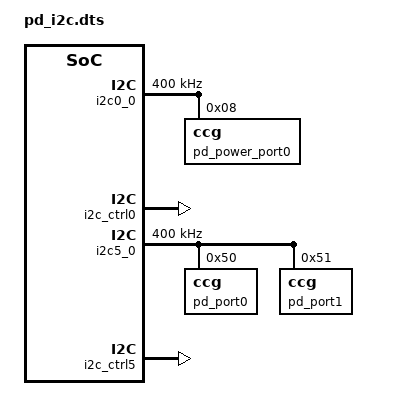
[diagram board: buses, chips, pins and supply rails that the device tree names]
/* Copyright 2023 The ChromiumOS Authors
 * Use of this source code is governed by a BSD-style license that can be
 * found in the LICENSE file.
 */

/ {
	named-i2c-ports {
		ec_pd_power: typec-aic1-power {
			i2c-port = <&i2c0_0>;
			enum-names = "I2C_PORT_TYPEC_AIC_1";
		};
		ec_pd_data: typec-aic-data {
			i2c-port = <&i2c5_0>;
			enum-names = "I2C_PORT_TYPEC_DATA";
		};
	};
};

/* typec-aic1-power */
&i2c0_0 {
	label = "I2C_PD_POWER";
	status = "okay";
	clock-frequency = <I2C_BITRATE_FAST>;
	pinctrl-0 = <&i2c0_0_sda_scl_gpb4_b5>;
	pinctrl-names = "default";

	pd_power_port0: ccg@52 {
		comapible = "intel,pd-altmode";
		reg = <0x8>;
		int-pin = <&pd_p0p1_intr>;
	};
};

&i2c_ctrl0 {
	status = "okay";
};

/* typec-aic-data */
&i2c5_0 {
	label = "I2C_PD_DATA";
	status = "okay";
	clock-frequency = <I2C_BITRATE_FAST>;
	pinctrl-0 = <&i2c5_0_sda_scl_gp33_36>;
	pinctrl-names = "default";

	pd_port0: ccg@50 {
		comapible = "intel,pd-altmode";
		reg = <0x50>;
		int-pin = <&pd_p0p1_intr>;
	};
	pd_port1: ccg@51 {
		comapible = "intel,pd-altmode";
		reg = <0x51>;
		int-pin = <&pd_p0p1_intr>;
	};
};


&i2c_ctrl5 {
	status = "okay";
};
